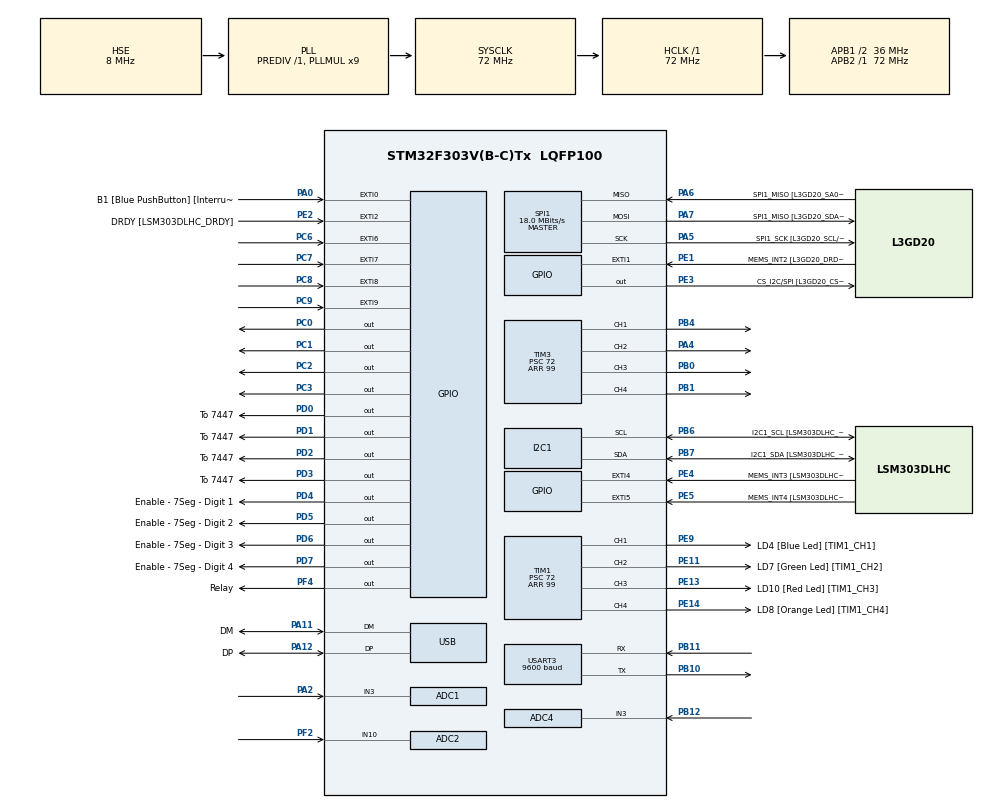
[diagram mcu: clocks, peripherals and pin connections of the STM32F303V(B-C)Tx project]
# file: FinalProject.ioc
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ADC1.Channel-0\#ChannelRegularConversion=ADC_CHANNEL_3
ADC1.Channel-2\#ChannelRegularConversion=ADC_CHANNEL_3
ADC1.ClockPrescaler=ADC_CLOCK_ASYNC_DIV1
ADC1.ContinuousConvMode=DISABLE
ADC1.DMAContinuousRequests=DISABLE
ADC1.DataAlign=ADC_DATAALIGN_RIGHT
ADC1.DiscontinuousConvMode=DISABLE
ADC1.EOCSelection=ADC_EOC_SINGLE_CONV
ADC1.EnableAnalogWatchDog1=false
ADC1.EnableAnalogWatchDog2=false
ADC1.EnableAnalogWatchDog3=false
ADC1.EnableInjectedConversion=ENABLE
ADC1.EnableRegularConversion=ENABLE
ADC1.ExternalTrigConv=ADC_SOFTWARE_START
ADC1.ExternalTrigConvEdge=ADC_EXTERNALTRIGCONVEDGE_NONE
ADC1.InjNumberOfConversion=0
ADC1.LowPowerAutoWait=DISABLE
ADC1.NbrOfConversion=1
ADC1.NbrOfConversionFlag=1
ADC1.Offset-0\#ChannelRegularConversion=0
ADC1.Offset-2\#ChannelRegularConversion=0
ADC1.OffsetNumber-0\#ChannelRegularConversion=ADC_OFFSET_NONE
ADC1.OffsetNumber-2\#ChannelRegularConversion=ADC_OFFSET_NONE
ADC1.Overrun=ADC_OVR_DATA_OVERWRITTEN
ADC1.Rank-0\#ChannelRegularConversion=1
ADC1.Rank-2\#ChannelRegularConversion=1
ADC1.Resolution=ADC_RESOLUTION_6B
ADC1.SamplingTime-0\#ChannelRegularConversion=ADC_SAMPLETIME_601CYCLES_5
ADC1.SamplingTime-2\#ChannelRegularConversion=ADC_SAMPLETIME_1CYCLE_5
ADC1.ScanConvMode=ADC_SCAN_DISABLE
ADC1.master=1
ADC2.Channel-0\#ChannelRegularConversion=ADC_CHANNEL_10
ADC2.ClockPrescaler=ADC_CLOCK_ASYNC_DIV1
ADC2.ContinuousConvMode=DISABLE
ADC2.DMAContinuousRequests=DISABLE
ADC2.DataAlign=ADC_DATAALIGN_RIGHT
ADC2.DiscontinuousConvMode=DISABLE
ADC2.EOCSelection=ADC_EOC_SINGLE_CONV
ADC2.EnableAnalogWatchDog1=false
ADC2.EnableAnalogWatchDog2=false
ADC2.EnableAnalogWatchDog3=false
ADC2.EnableInjectedConversion=ENABLE
ADC2.EnableRegularConversion=ENABLE
ADC2.ExternalTrigConv=ADC_SOFTWARE_START
ADC2.ExternalTrigConvEdge=ADC_EXTERNALTRIGCONVEDGE_NONE
ADC2.InjNumberOfConversion=0
ADC2.LowPowerAutoWait=DISABLE
ADC2.NbrOfConversion=1
ADC2.NbrOfConversionFlag=1
ADC2.Offset-0\#ChannelRegularConversion=0
ADC2.OffsetNumber-0\#ChannelRegularConversion=ADC_OFFSET_NONE
ADC2.Overrun=ADC_OVR_DATA_OVERWRITTEN
ADC2.Rank-0\#ChannelRegularConversion=1
ADC2.Resolution=ADC_RESOLUTION_12B
ADC2.SamplingTime-0\#ChannelRegularConversion=ADC_SAMPLETIME_61CYCLES_5
ADC2.ScanConvMode=ADC_SCAN_DISABLE
ADC4.Channel-4\#ChannelRegularConversion=ADC_CHANNEL_3
ADC4.ClockPrescaler=ADC_CLOCK_ASYNC_DIV1
ADC4.ContinuousConvMode=DISABLE
ADC4.DMAContinuousRequests=DISABLE
ADC4.DataAlign=ADC_DATAALIGN_RIGHT
ADC4.DiscontinuousConvMode=DISABLE
ADC4.EOCSelection=ADC_EOC_SINGLE_CONV
ADC4.EnableAnalogWatchDog1=false
ADC4.EnableAnalogWatchDog2=false
ADC4.EnableAnalogWatchDog3=false
ADC4.EnableInjectedConversion=ENABLE
ADC4.EnableRegularConversion=ENABLE
ADC4.ExternalTrigConv=ADC_SOFTWARE_START
ADC4.ExternalTrigConvEdge=ADC_EXTERNALTRIGCONVEDGE_NONE
ADC4.InjNumberOfConversion=0
ADC4.LowPowerAutoWait=DISABLE
ADC4.NbrOfConversion=1
ADC4.NbrOfConversionFlag=1
ADC4.Offset-4\#ChannelRegularConversion=0
ADC4.OffsetNumber-4\#ChannelRegularConversion=ADC_OFFSET_NONE
ADC4.Overrun=ADC_OVR_DATA_OVERWRITTEN
ADC4.Rank-4\#ChannelRegularConversion=1
ADC4.Resolution=ADC_RESOLUTION_6B
ADC4.SamplingTime-4\#ChannelRegularConversion=ADC_SAMPLETIME_601CYCLES_5
ADC4.ScanConvMode=ADC_SCAN_DISABLE
I2C1.Timing-I2C=0x2000090E
Mcu.Family=STM32F3
Mcu.Name=STM32F303V(B-C)Tx
Mcu.Package=LQFP100
NVIC.ADC1_2_IRQn=true\:3\:0\:true\:false\:true\:true
NVIC.ADC4_IRQn=true\:4\:0\:true\:false\:true\:true
NVIC.EXTI0_IRQn=true\:3\:0\:true\:false\:true\:true
NVIC.EXTI9_5_IRQn=true\:3\:0\:true\:false\:true\:true
NVIC.PriorityGroup=NVIC_PRIORITYGROUP_3
NVIC.TIM2_IRQn=true\:2\:0\:true\:false\:true\:true
NVIC.TIM4_IRQn=true\:1\:0\:true\:false\:true\:true
NVIC.USART3_IRQn=true\:4\:0\:true\:false\:true\:true
PA0.GPIO_Label=B1 [Blue PushButton] [Interruptable]
PA0.GPIO_PuPd=GPIO_PULLDOWN
PA0.Signal=GPXTI0
PA11.GPIO_Label=DM
PA11.Mode=Device
PA11.Signal=USB_DM
PA12.GPIO_Label=DP
PA12.Mode=Device
PA12.Signal=USB_DP
PA13.GPIO_Label=SWDIO
PA13.Mode=Serial_Wire
PA13.Signal=SYS_JTMS-SWDIO
PA14.GPIO_Label=SWCLK
PA14.Mode=Serial_Wire
PA14.Signal=SYS_JTCK-SWCLK
PA2.Mode=IN3-Single-Ended
PA2.Signal=ADC1_IN3
PA4.Signal=S_TIM3_CH2
PA5.GPIO_Label=SPI1_SCK [L3GD20_SCL/SPC]
PA5.Mode=Full_Duplex_Master
PA5.Signal=SPI1_SCK
PA6.GPIO_Label=SPI1_MISO [L3GD20_SA0/SDO]
PA6.Mode=Full_Duplex_Master
PA6.Signal=SPI1_MISO
PA7.GPIO_Label=SPI1_MISO [L3GD20_SDA/SDI/SDO]
PA7.Mode=Full_Duplex_Master
PA7.Signal=SPI1_MOSI
PB0.Signal=S_TIM3_CH3
PB1.Signal=S_TIM3_CH4
PB10.Mode=Asynchronous
PB10.Signal=USART3_TX
PB11.Mode=Asynchronous
PB11.Signal=USART3_RX
PB12.Mode=IN3-Single-Ended
PB12.Signal=ADC4_IN3
PB3.GPIO_Label=SWO
PB3.Signal=SYS_JTDO-TRACESWO
PB4.Signal=S_TIM3_CH1
PB6.GPIO_Label=I2C1_SCL [LSM303DLHC_SCL]
PB6.Mode=I2C
PB6.Signal=I2C1_SCL
PB7.GPIO_Label=I2C1_SDA [LSM303DLHC_SDA]
PB7.Mode=I2C
PB7.Signal=I2C1_SDA
PC0.GPIO_Speed=GPIO_SPEED_FREQ_HIGH
PC0.Signal=GPIO_Output
PC1.GPIO_Speed=GPIO_SPEED_FREQ_HIGH
PC1.Signal=GPIO_Output
PC14-OSC32_IN.GPIO_Label=OSC32_IN
PC14-OSC32_IN.Signal=RCC_OSC32_IN
PC15-OSC32_OUT.GPIO_Label=OSC32_OUT
PC15-OSC32_OUT.Signal=RCC_OSC32_OUT
PC2.GPIO_Speed=GPIO_SPEED_FREQ_HIGH
PC2.Signal=GPIO_Output
PC3.GPIO_Speed=GPIO_SPEED_FREQ_HIGH
PC3.Signal=GPIO_Output
PC6.GPIO_PuPd=GPIO_PULLDOWN
PC6.Signal=GPXTI6
PC7.GPIO_PuPd=GPIO_PULLDOWN
PC7.Signal=GPXTI7
PC8.GPIO_PuPd=GPIO_PULLDOWN
PC8.Signal=GPXTI8
PC9.GPIO_PuPd=GPIO_PULLDOWN
PC9.Signal=GPXTI9
PD0.GPIO_Label=To 7447
PD0.GPIO_Speed=GPIO_SPEED_FREQ_HIGH
PD0.Signal=GPIO_Output
PD1.GPIO_Label=To 7447
PD1.GPIO_Speed=GPIO_SPEED_FREQ_HIGH
PD1.Signal=GPIO_Output
PD2.GPIO_Label=To 7447
PD2.GPIO_Speed=GPIO_SPEED_FREQ_HIGH
PD2.Signal=GPIO_Output
PD3.GPIO_Label=To 7447
PD3.GPIO_Speed=GPIO_SPEED_FREQ_HIGH
PD3.Signal=GPIO_Output
PD4.GPIO_Label=Enable - 7Seg - Digit 1
PD4.GPIO_Speed=GPIO_SPEED_FREQ_HIGH
PD4.Signal=GPIO_Output
PD5.GPIO_Label=Enable - 7Seg - Digit 2
PD5.GPIO_Speed=GPIO_SPEED_FREQ_HIGH
PD5.Signal=GPIO_Output
PD6.GPIO_Label=Enable - 7Seg - Digit 3
PD6.GPIO_Speed=GPIO_SPEED_FREQ_HIGH
PD6.Signal=GPIO_Output
PD7.GPIO_Label=Enable - 7Seg - Digit 4
PD7.GPIO_Speed=GPIO_SPEED_FREQ_HIGH
PD7.Signal=GPIO_Output
PE1.GPIO_Label=MEMS_INT2 [L3GD20_DRDY/INT2]
PE1.GPIO_ModeDefaultEXTI=GPIO_MODE_EVT_RISING
PE1.Signal=GPXTI1
PE11.GPIO_Label=LD7 [Green Led] [TIM1_CH2]
PE11.Signal=S_TIM1_CH2
PE13.GPIO_Label=LD10 [Red Led] [TIM1_CH3]
PE13.Signal=S_TIM1_CH3
PE14.GPIO_Label=LD8 [Orange Led] [TIM1_CH4]
PE14.Signal=S_TIM1_CH4
PE2.GPIO_Label=DRDY [LSM303DLHC_DRDY]
PE2.GPIO_ModeDefaultEXTI=GPIO_MODE_EVT_RISING
PE2.Signal=GPXTI2
PE3.GPIO_Label=CS_I2C/SPI [L3GD20_CS_I2C/SPI]
PE3.Signal=GPIO_Output
PE4.GPIO_Label=MEMS_INT3 [LSM303DLHC_INT1]
PE4.GPIO_ModeDefaultEXTI=GPIO_MODE_EVT_RISING
PE4.Signal=GPXTI4
PE5.GPIO_Label=MEMS_INT4 [LSM303DLHC_INT2]
PE5.GPIO_ModeDefaultEXTI=GPIO_MODE_EVT_RISING
PE5.Signal=GPXTI5
PE9.GPIO_Label=LD4 [Blue Led] [TIM1_CH1]
PE9.Signal=S_TIM1_CH1
PF0-OSC_IN.GPIO_Label=OSC_IN
PF0-OSC_IN.Mode=HSE-External-Clock-Source
PF0-OSC_IN.Signal=RCC_OSC_IN
PF1-OSC_OUT.GPIO_Label=OSC_OUT
PF1-OSC_OUT.Signal=RCC_OSC_OUT
PF2.Signal=ADCx_IN10
PF4.GPIO_Label=Relay
PF4.GPIO_Speed=GPIO_SPEED_FREQ_HIGH
PF4.Signal=GPIO_Output
ProjectManager.HeapSize=0x200
ProjectManager.StackSize=0x400
ProjectManager.TargetToolchain=MDK-ARM V5
RCC.AHBFreq_Value=72000000
RCC.APB1CLKDivider=RCC_HCLK_DIV2
RCC.APB1Freq_Value=36000000
RCC.APB1TimFreq_Value=72000000
RCC.APB2Freq_Value=72000000
RCC.APB2TimFreq_Value=72000000
RCC.CortexFreq_Value=72000000
RCC.HCLKFreq_Value=72000000
RCC.HSE_VALUE=8000000
RCC.HSI_VALUE=8000000
RCC.LSE_VALUE=32768
RCC.PLLMUL=RCC_PLL_MUL9
RCC.PRESCALERUSB=RCC_USBCLKSOURCE_PLL_DIV1_5
RCC.SYSCLKFreq_VALUE=72000000
RCC.SYSCLKSourceVirtual=RCC_SYSCLKSOURCE_PLLCLK
RCC.USBFreq_Value=48000000
RTC.Date=13
RTC.Hours=11
RTC.Month=RTC_MONTH_OCTOBER
RTC.WeekDay=RTC_WEEKDAY_SATURDAY
RTC.Year=18
SH.ADCx_IN10.0=ADC2_IN10,IN10-Single-Ended
SH.S_TIM1_CH1.0=TIM1_CH1,PWM Generation1 CH1
SH.S_TIM1_CH2.0=TIM1_CH2,PWM Generation2 CH2
SH.S_TIM1_CH3.0=TIM1_CH3,PWM Generation3 CH3
SH.S_TIM1_CH4.0=TIM1_CH4,PWM Generation4 CH4
SH.S_TIM3_CH1.0=TIM3_CH1,PWM Generation1 CH1
SH.S_TIM3_CH2.0=TIM3_CH2,PWM Generation2 CH2
SH.S_TIM3_CH3.0=TIM3_CH3,PWM Generation3 CH3
SH.S_TIM3_CH4.0=TIM3_CH4,PWM Generation4 CH4
SPI1.BaudRatePrescaler=SPI_BAUDRATEPRESCALER_4
SPI1.BaudRatePrescaler-Full_Duplex_Master=SPI_BAUDRATEPRESCALER_2
SPI1.CalculateBaudRate=18.0 MBits/s
SPI1.CalculateBaudRate-Full_Duplex_Master=24.0 MBits/s
SPI1.Direction=SPI_DIRECTION_2LINES
SPI1.Mode=SPI_MODE_MASTER
SPI1.Mode-Full_Duplex_Master=SPI_MODE_MASTER
SPI1.VirtualType=VM_MASTER
TIM1.Channel-PWM\ Generation1\ CH1=TIM_CHANNEL_1
TIM1.Channel-PWM\ Generation2\ CH2=TIM_CHANNEL_2
TIM1.Channel-PWM\ Generation3\ CH3=TIM_CHANNEL_3
TIM1.Channel-PWM\ Generation4\ CH4=TIM_CHANNEL_4
TIM1.Period=99
TIM1.Prescaler=72
TIM2.Channel-PWM\ Generation1\ CH1=TIM_CHANNEL_1
TIM2.Period=35999
TIM2.Prescaler=1
TIM3.Channel-PWM\ Generation1\ CH1=TIM_CHANNEL_1
TIM3.Channel-PWM\ Generation2\ CH2=TIM_CHANNEL_2
TIM3.Channel-PWM\ Generation3\ CH3=TIM_CHANNEL_3
TIM3.Channel-PWM\ Generation4\ CH4=TIM_CHANNEL_4
TIM3.Period=99
TIM3.Prescaler=72
TIM4.Period=35999
TIM4.Prescaler=1
USART3.BaudRate=9600
USART3.VirtualMode-Asynchronous=VM_ASYNC
VP_RTC_VS_RTC_Activate.Mode=RTC_Enabled
VP_RTC_VS_RTC_Calendar.Mode=RTC_Calendar
VP_TIM1_VS_ClockSourceINT.Mode=Internal
VP_TIM2_VS_ClockSourceINT.Mode=Internal
VP_TIM3_VS_ClockSourceINT.Mode=Internal
VP_TIM4_VS_ClockSourceINT.Mode=Internal
board=STM32F3DISCOVERY

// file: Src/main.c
/**
  ******************************************************************************
  * @file           : main.c
  * @brief          : Main program body
  ******************************************************************************
  ** This notice applies to any and all portions of this file
  * that are not between comment pairs USER CODE BEGIN and
  * USER CODE END. Other portions of this file, whether
  * inserted by the user or by software development tools
  * are owned by their respective copyright owners.
  *
  * COPYRIGHT(c) 2018 STMicroelectronics
  *
  * Redistribution and use in source and binary forms, with or without modification,
  * are permitted provided that the following conditions are met:
  *   1. Redistributions of source code must retain the above copyright notice,
  *      this list of conditions and the following disclaimer.
  *   2. Redistributions in binary form must reproduce the above copyright notice,
  *      this list of conditions and the following disclaimer in the documentation
  *      and/or other materials provided with the distribution.
  *   3. Neither the name of STMicroelectronics nor the names of its contributors
  *      may be used to endorse or promote products derived from this software
  *      without specific prior written permission.
  *
  * THIS SOFTWARE IS PROVIDED BY THE COPYRIGHT HOLDERS AND CONTRIBUTORS "AS IS"
  * AND ANY EXPRESS OR IMPLIED WARRANTIES, INCLUDING, BUT NOT LIMITED TO, THE
  * IMPLIED WARRANTIES OF MERCHANTABILITY AND FITNESS FOR A PARTICULAR PURPOSE ARE
  * DISCLAIMED. IN NO EVENT SHALL THE COPYRIGHT HOLDER OR CONTRIBUTORS BE LIABLE
  * FOR ANY DIRECT, INDIRECT, INCIDENTAL, SPECIAL, EXEMPLARY, OR CONSEQUENTIAL
  * DAMAGES (INCLUDING, BUT NOT LIMITED TO, PROCUREMENT OF SUBSTITUTE GOODS OR
  * SERVICES; LOSS OF USE, DATA, OR PROFITS; OR BUSINESS INTERRUPTION) HOWEVER
  * CAUSED AND ON ANY THEORY OF LIABILITY, WHETHER IN CONTRACT, STRICT LIABILITY,
  * OR TORT (INCLUDING NEGLIGENCE OR OTHERWISE) ARISING IN ANY WAY OUT OF THE USE
  * OF THIS SOFTWARE, EVEN IF ADVISED OF THE POSSIBILITY OF SUCH DAMAGE.
  *
  ******************************************************************************
  */
#include "main.h"
#include "stm32f3xx_hal.h"

/* USER CODE BEGIN Includes */
#include "LiquidCrystal.h"
#include "Utility.h"
#include <stdbool.h>

// byte is not defined here by default
typedef unsigned char byte;
/* USER CODE END Includes */

ADC_HandleTypeDef hadc1;
ADC_HandleTypeDef hadc2;
ADC_HandleTypeDef hadc4;

I2C_HandleTypeDef hi2c1;

RTC_HandleTypeDef hrtc;

SPI_HandleTypeDef hspi1;

TIM_HandleTypeDef htim1;
TIM_HandleTypeDef htim2;
TIM_HandleTypeDef htim3;
TIM_HandleTypeDef htim4;

UART_HandleTypeDef huart3;

PCD_HandleTypeDef hpcd_USB_FS;

/* USER CODE BEGIN PV */
/* Private variables ---------------------------------------------------------*/
uint8_t Life, Level, temp_level, volume;
enum State state;
enum Playing_State playing_state;
enum Cell map[16][2];
uint8_t UART_Data[1], UART_Command[25], UART_position;
struct Position player_pos, initial_player_pos, new_player_pos, barrier_pos[10];
struct HighScore highscores[5];
// counters
uint8_t counter_7segment;
uint16_t counter_player_move, counter_treasure, counter_blink, forward_move_time;
uint32_t score;
uint8_t name[100], name_size, datetime[19];
RTC_TimeTypeDef myTime;
RTC_DateTypeDef myDate;

bool keypad_row[4];
char keypad_btn;
/* USER CODE END PV */

void SystemClock_Config(void);
static void MX_GPIO_Init(void);
static void MX_I2C1_Init(void);
static void MX_SPI1_Init(void);
static void MX_USB_PCD_Init(void);
static void MX_ADC2_Init(void);
static void MX_TIM2_Init(void);
static void MX_TIM1_Init(void);
static void MX_ADC1_Init(void);
static void MX_TIM3_Init(void);
static void MX_TIM4_Init(void);
static void MX_ADC4_Init(void);
static void MX_USART3_UART_Init(void);
static void MX_RTC_Init(void);

void HAL_TIM_MspPostInit(TIM_HandleTypeDef *htim);

/* USER CODE BEGIN PFP */
/* Private function prototypes -----------------------------------------------*/
void initial_tasks(void);
/* USER CODE END PFP */

/* USER CODE BEGIN 0 */
// make Game characters:
byte player_char[8] = {
	0x00,
	0x04,
	0x0E,
	0x1F,
	0x1F,
	0x0E,
	0x04,
	0x00
};

byte barrier_char[8] = {
	0x15,
	0x15,
	0x1F,
	0x0E,
	0x0E,
	0x1F,
	0x15,
	0x15
};

byte block_char[8] = {
	0xFF,
	0xFF,
	0xFF,
	0xFF,
	0xFF,
	0xFF,
	0xFF,
	0xFF
};
/* USER CODE END 0 */

int main(void)
{

  /* MCU Configuration----------------------------------------------------------*/

  /* Reset of all peripherals, Initializes the Flash interface and the Systick. */
  HAL_Init();

  /* Configure the system clock */
  SystemClock_Config();

  /* Initialize all configured peripherals */
  MX_GPIO_Init();
  MX_I2C1_Init();
  MX_SPI1_Init();
  MX_USB_PCD_Init();
  MX_ADC2_Init();
  MX_TIM2_Init();
  MX_TIM1_Init();
  MX_ADC1_Init();
  MX_TIM3_Init();
  MX_TIM4_Init();
  MX_ADC4_Init();
  MX_USART3_UART_Init();
  MX_RTC_Init();
  /* USER CODE BEGIN 2 */
	initial_tasks();
  /* USER CODE END 2 */

  /* Infinite loop */
  /* USER CODE BEGIN WHILE */
  while (1)
  {
//		clear();
//		HAL_ADC_Start(&hadc2);
//		char value[16];
//		sprintf(value, "%d", HAL_ADC_GetValue(&hadc2));
//		print(value);
//		HAL_Delay(100);

//		HAL_GPIO_WritePin(GPIOF, GPIO_PIN_4, GPIO_PIN_SET);
//		HAL_Delay(2000);
//		HAL_GPIO_WritePin(GPIOF, GPIO_PIN_4, GPIO_PIN_RESET);
//		HAL_Delay(2000);

//		HAL_RTC_GetTime(&hrtc, &myTime, RTC_FORMAT_BIN);
//		HAL_RTC_GetDate(&hrtc, &myDate, RTC_FORMAT_BIN);
//		char time[16], date[16];
//		sprintf(time, "%02d:%02d:%02d", myTime.Hours, myTime.Minutes, myTime.Seconds);
//		sprintf(date, "  20%02d:%02d:%02d", myDate.Year, myDate.Month, myDate.Date);
//		setCursor(4, 0);
//		print(time);
//		setCursor(0, 1);
//		switch(myDate.WeekDay)
//    {
//        case 0:
//            print("SUN");
//            break;
//        case 1:
//            print("MON");
//            break;
//        case 2:
//            print("TUE");
//            break;
//        case 3:
//            print("WED");
//            break;
//        case 4:
//            print("THU");
//            break;
//        case 5:
//            print("FRI");
//            break;
//        case 6:
//            print("SAT");
//            break;
//    }
//		print(date);
//		HAL_Delay(500);
  /* USER CODE END WHILE */

  }

}

void SystemClock_Config(void)
{

  RCC_OscInitTypeDef RCC_OscInitStruct;
  RCC_ClkInitTypeDef RCC_ClkInitStruct;
  RCC_PeriphCLKInitTypeDef PeriphClkInit;

    /**Initializes the CPU, AHB and APB busses clocks
    */
  RCC_OscInitStruct.OscillatorType = RCC_OSCILLATORTYPE_HSI|RCC_OSCILLATORTYPE_LSI
                              |RCC_OSCILLATORTYPE_HSE;
  RCC_OscInitStruct.HSEState = RCC_HSE_BYPASS;
  RCC_OscInitStruct.HSEPredivValue = RCC_HSE_PREDIV_DIV1;
  RCC_OscInitStruct.HSIState = RCC_HSI_ON;
  RCC_OscInitStruct.HSICalibrationValue = 16;
  RCC_OscInitStruct.LSIState = RCC_LSI_ON;
  RCC_OscInitStruct.PLL.PLLState = RCC_PLL_ON;
  RCC_OscInitStruct.PLL.PLLSource = RCC_PLLSOURCE_HSE;
  RCC_OscInitStruct.PLL.PLLMUL = RCC_PLL_MUL9;
  if (HAL_RCC_OscConfig(&RCC_OscInitStruct) != HAL_OK)
  {
    _Error_Handler(__FILE__, __LINE__);
  }

    /**Initializes the CPU, AHB and APB busses clocks
    */
  RCC_ClkInitStruct.ClockType = RCC_CLOCKTYPE_HCLK|RCC_CLOCKTYPE_SYSCLK
                              |RCC_CLOCKTYPE_PCLK1|RCC_CLOCKTYPE_PCLK2;
  RCC_ClkInitStruct.SYSCLKSource = RCC_SYSCLKSOURCE_PLLCLK;
  RCC_ClkInitStruct.AHBCLKDivider = RCC_SYSCLK_DIV1;
  RCC_ClkInitStruct.APB1CLKDivider = RCC_HCLK_DIV2;
  RCC_ClkInitStruct.APB2CLKDivider = RCC_HCLK_DIV1;

  if (HAL_RCC_ClockConfig(&RCC_ClkInitStruct, FLASH_LATENCY_2) != HAL_OK)
  {
    _Error_Handler(__FILE__, __LINE__);
  }

  PeriphClkInit.PeriphClockSelection = RCC_PERIPHCLK_USB|RCC_PERIPHCLK_USART3
                              |RCC_PERIPHCLK_I2C1|RCC_PERIPHCLK_RTC
                              |RCC_PERIPHCLK_TIM1|RCC_PERIPHCLK_ADC12
                              |RCC_PERIPHCLK_ADC34;
  PeriphClkInit.Usart3ClockSelection = RCC_USART3CLKSOURCE_PCLK1;
  PeriphClkInit.Adc12ClockSelection = RCC_ADC12PLLCLK_DIV1;
  PeriphClkInit.Adc34ClockSelection = RCC_ADC34PLLCLK_DIV1;
  PeriphClkInit.I2c1ClockSelection = RCC_I2C1CLKSOURCE_HSI;
  PeriphClkInit.RTCClockSelection = RCC_RTCCLKSOURCE_LSI;
  PeriphClkInit.USBClockSelection = RCC_USBCLKSOURCE_PLL_DIV1_5;
  PeriphClkInit.Tim1ClockSelection = RCC_TIM1CLK_HCLK;
  if (HAL_RCCEx_PeriphCLKConfig(&PeriphClkInit) != HAL_OK)
  {
    _Error_Handler(__FILE__, __LINE__);
  }

    /**Configure the Systick interrupt time
    */
  HAL_SYSTICK_Config(HAL_RCC_GetHCLKFreq()/1000);

    /**Configure the Systick
    */
  HAL_SYSTICK_CLKSourceConfig(SYSTICK_CLKSOURCE_HCLK);

  /* SysTick_IRQn interrupt configuration */
  HAL_NVIC_SetPriority(SysTick_IRQn, 0, 0);
}

/* ADC1 init function */
static void MX_ADC1_Init(void)
{

  ADC_MultiModeTypeDef multimode;
  ADC_ChannelConfTypeDef sConfig;

    /**Common config
    */
  hadc1.Instance = ADC1;
  hadc1.Init.ClockPrescaler = ADC_CLOCK_ASYNC_DIV1;
  hadc1.Init.Resolution = ADC_RESOLUTION_6B;
  hadc1.Init.ScanConvMode = ADC_SCAN_DISABLE;
  hadc1.Init.ContinuousConvMode = DISABLE;
  hadc1.Init.DiscontinuousConvMode = DISABLE;
  hadc1.Init.ExternalTrigConvEdge = ADC_EXTERNALTRIGCONVEDGE_NONE;
  hadc1.Init.ExternalTrigConv = ADC_SOFTWARE_START;
  hadc1.Init.DataAlign = ADC_DATAALIGN_RIGHT;
  hadc1.Init.NbrOfConversion = 1;
  hadc1.Init.DMAContinuousRequests = DISABLE;
  hadc1.Init.EOCSelection = ADC_EOC_SINGLE_CONV;
  hadc1.Init.LowPowerAutoWait = DISABLE;
  hadc1.Init.Overrun = ADC_OVR_DATA_OVERWRITTEN;
  if (HAL_ADC_Init(&hadc1) != HAL_OK)
  {
    _Error_Handler(__FILE__, __LINE__);
  }

    /**Configure the ADC multi-mode
    */
  multimode.Mode = ADC_MODE_INDEPENDENT;
  if (HAL_ADCEx_MultiModeConfigChannel(&hadc1, &multimode) != HAL_OK)
  {
    _Error_Handler(__FILE__, __LINE__);
  }

    /**Configure Regular Channel
    */
  sConfig.Channel = ADC_CHANNEL_3;
  sConfig.Rank = ADC_REGULAR_RANK_1;
  sConfig.SingleDiff = ADC_SINGLE_ENDED;
  sConfig.SamplingTime = ADC_SAMPLETIME_1CYCLE_5;
  sConfig.OffsetNumber = ADC_OFFSET_NONE;
  sConfig.Offset = 0;
  if (HAL_ADC_ConfigChannel(&hadc1, &sConfig) != HAL_OK)
  {
    _Error_Handler(__FILE__, __LINE__);
  }

    /**Configure Regular Channel
    */
  sConfig.SamplingTime = ADC_SAMPLETIME_601CYCLES_5;
  if (HAL_ADC_ConfigChannel(&hadc1, &sConfig) != HAL_OK)
  {
    _Error_Handler(__FILE__, __LINE__);
  }

}

/* ADC2 init function */
static void MX_ADC2_Init(void)
{

  ADC_ChannelConfTypeDef sConfig;

    /**Common config
    */
  hadc2.Instance = ADC2;
  hadc2.Init.ClockPrescaler = ADC_CLOCK_ASYNC_DIV1;
  hadc2.Init.Resolution = ADC_RESOLUTION_12B;
  hadc2.Init.ScanConvMode = ADC_SCAN_DISABLE;
  hadc2.Init.ContinuousConvMode = DISABLE;
  hadc2.Init.DiscontinuousConvMode = DISABLE;
  hadc2.Init.ExternalTrigConvEdge = ADC_EXTERNALTRIGCONVEDGE_NONE;
  hadc2.Init.ExternalTrigConv = ADC_SOFTWARE_START;
  hadc2.Init.DataAlign = ADC_DATAALIGN_RIGHT;
  hadc2.Init.NbrOfConversion = 1;
  hadc2.Init.DMAContinuousRequests = DISABLE;
  hadc2.Init.EOCSelection = ADC_EOC_SINGLE_CONV;
  hadc2.Init.LowPowerAutoWait = DISABLE;
  hadc2.Init.Overrun = ADC_OVR_DATA_OVERWRITTEN;
  if (HAL_ADC_Init(&hadc2) != HAL_OK)
  {
    _Error_Handler(__FILE__, __LINE__);
  }

    /**Configure Regular Channel
    */
  sConfig.Channel = ADC_CHANNEL_10;
  sConfig.Rank = ADC_REGULAR_RANK_1;
  sConfig.SingleDiff = ADC_SINGLE_ENDED;
  sConfig.SamplingTime = ADC_SAMPLETIME_61CYCLES_5;
  sConfig.OffsetNumber = ADC_OFFSET_NONE;
  sConfig.Offset = 0;
  if (HAL_ADC_ConfigChannel(&hadc2, &sConfig) != HAL_OK)
  {
    _Error_Handler(__FILE__, __LINE__);
  }

}

/* ADC4 init function */
static void MX_ADC4_Init(void)
{

  ADC_ChannelConfTypeDef sConfig;

    /**Common config
    */
  hadc4.Instance = ADC4;
  hadc4.Init.ClockPrescaler = ADC_CLOCK_ASYNC_DIV1;
  hadc4.Init.Resolution = ADC_RESOLUTION_6B;
  hadc4.Init.ScanConvMode = ADC_SCAN_DISABLE;
  hadc4.Init.ContinuousConvMode = DISABLE;
  hadc4.Init.DiscontinuousConvMode = DISABLE;
  hadc4.Init.ExternalTrigConvEdge = ADC_EXTERNALTRIGCONVEDGE_NONE;
  hadc4.Init.ExternalTrigConv = ADC_SOFTWARE_START;
  hadc4.Init.DataAlign = ADC_DATAALIGN_RIGHT;
  hadc4.Init.NbrOfConversion = 1;
  hadc4.Init.DMAContinuousRequests = DISABLE;
  hadc4.Init.EOCSelection = ADC_EOC_SINGLE_CONV;
  hadc4.Init.LowPowerAutoWait = DISABLE;
  hadc4.Init.Overrun = ADC_OVR_DATA_OVERWRITTEN;
  if (HAL_ADC_Init(&hadc4) != HAL_OK)
  {
    _Error_Handler(__FILE__, __LINE__);
  }

    /**Configure Regular Channel
    */
  sConfig.Channel = ADC_CHANNEL_3;
  sConfig.Rank = ADC_REGULAR_RANK_1;
  sConfig.SingleDiff = ADC_SINGLE_ENDED;
  sConfig.SamplingTime = ADC_SAMPLETIME_601CYCLES_5;
  sConfig.OffsetNumber = ADC_OFFSET_NONE;
  sConfig.Offset = 0;
  if (HAL_ADC_ConfigChannel(&hadc4, &sConfig) != HAL_OK)
  {
    _Error_Handler(__FILE__, __LINE__);
  }

}

/* I2C1 init function */
static void MX_I2C1_Init(void)
{

  hi2c1.Instance = I2C1;
  hi2c1.Init.Timing = 0x2000090E;
  hi2c1.Init.OwnAddress1 = 0;
  hi2c1.Init.AddressingMode = I2C_ADDRESSINGMODE_7BIT;
  hi2c1.Init.DualAddressMode = I2C_DUALADDRESS_DISABLE;
  hi2c1.Init.OwnAddress2 = 0;
  hi2c1.Init.OwnAddress2Masks = I2C_OA2_NOMASK;
  hi2c1.Init.GeneralCallMode = I2C_GENERALCALL_DISABLE;
  hi2c1.Init.NoStretchMode = I2C_NOSTRETCH_DISABLE;
  if (HAL_I2C_Init(&hi2c1) != HAL_OK)
  {
    _Error_Handler(__FILE__, __LINE__);
  }

    /**Configure Analogue filter
    */
  if (HAL_I2CEx_ConfigAnalogFilter(&hi2c1, I2C_ANALOGFILTER_ENABLE) != HAL_OK)
  {
    _Error_Handler(__FILE__, __LINE__);
  }

    /**Configure Digital filter
    */
  if (HAL_I2CEx_ConfigDigitalFilter(&hi2c1, 0) != HAL_OK)
  {
    _Error_Handler(__FILE__, __LINE__);
  }

}

/* RTC init function */
static void MX_RTC_Init(void)
{

  RTC_TimeTypeDef sTime;
  RTC_DateTypeDef sDate;

    /**Initialize RTC Only
    */
  hrtc.Instance = RTC;
  hrtc.Init.HourFormat = RTC_HOURFORMAT_24;
  hrtc.Init.AsynchPrediv = 127;
  hrtc.Init.SynchPrediv = 255;
  hrtc.Init.OutPut = RTC_OUTPUT_DISABLE;
  hrtc.Init.OutPutPolarity = RTC_OUTPUT_POLARITY_HIGH;
  hrtc.Init.OutPutType = RTC_OUTPUT_TYPE_OPENDRAIN;
  if (HAL_RTC_Init(&hrtc) != HAL_OK)
  {
    _Error_Handler(__FILE__, __LINE__);
  }

    /**Initialize RTC and set the Time and Date
    */
  sTime.Hours = 0x11;
  sTime.Minutes = 0x0;
  sTime.Seconds = 0x0;
  sTime.DayLightSaving = RTC_DAYLIGHTSAVING_NONE;
  sTime.StoreOperation = RTC_STOREOPERATION_RESET;
  if (HAL_RTC_SetTime(&hrtc, &sTime, RTC_FORMAT_BCD) != HAL_OK)
  {
    _Error_Handler(__FILE__, __LINE__);
  }

  sDate.WeekDay = RTC_WEEKDAY_SATURDAY;
  sDate.Month = RTC_MONTH_OCTOBER;
  sDate.Date = 0x13;
  sDate.Year = 0x18;

  if (HAL_RTC_SetDate(&hrtc, &sDate, RTC_FORMAT_BCD) != HAL_OK)
  {
    _Error_Handler(__FILE__, __LINE__);
  }

}

/* SPI1 init function */
static void MX_SPI1_Init(void)
{

  /* SPI1 parameter configuration*/
  hspi1.Instance = SPI1;
  hspi1.Init.Mode = SPI_MODE_MASTER;
  hspi1.Init.Direction = SPI_DIRECTION_2LINES;
  hspi1.Init.DataSize = SPI_DATASIZE_4BIT;
  hspi1.Init.CLKPolarity = SPI_POLARITY_LOW;
  hspi1.Init.CLKPhase = SPI_PHASE_1EDGE;
  hspi1.Init.NSS = SPI_NSS_SOFT;
  hspi1.Init.BaudRatePrescaler = SPI_BAUDRATEPRESCALER_4;
  hspi1.Init.FirstBit = SPI_FIRSTBIT_MSB;
  hspi1.Init.TIMode = SPI_TIMODE_DISABLE;
  hspi1.Init.CRCCalculation = SPI_CRCCALCULATION_DISABLE;
  hspi1.Init.CRCPolynomial = 7;
  hspi1.Init.CRCLength = SPI_CRC_LENGTH_DATASIZE;
  hspi1.Init.NSSPMode = SPI_NSS_PULSE_ENABLE;
  if (HAL_SPI_Init(&hspi1) != HAL_OK)
  {
    _Error_Handler(__FILE__, __LINE__);
  }

}

/* TIM1 init function */
static void MX_TIM1_Init(void)
{

  TIM_ClockConfigTypeDef sClockSourceConfig;
  TIM_MasterConfigTypeDef sMasterConfig;
  TIM_OC_InitTypeDef sConfigOC;
  TIM_BreakDeadTimeConfigTypeDef sBreakDeadTimeConfig;

  htim1.Instance = TIM1;
  htim1.Init.Prescaler = 72;
  htim1.Init.CounterMode = TIM_COUNTERMODE_UP;
  htim1.Init.Period = 99;
  htim1.Init.ClockDivision = TIM_CLOCKDIVISION_DIV1;
  htim1.Init.RepetitionCounter = 0;
  htim1.Init.AutoReloadPreload = TIM_AUTORELOAD_PRELOAD_DISABLE;
  if (HAL_TIM_Base_Init(&htim1) != HAL_OK)
  {
    _Error_Handler(__FILE__, __LINE__);
  }

  sClockSourceConfig.ClockSource = TIM_CLOCKSOURCE_INTERNAL;
  if (HAL_TIM_ConfigClockSource(&htim1, &sClockSourceConfig) != HAL_OK)
  {
    _Error_Handler(__FILE__, __LINE__);
  }

  if (HAL_TIM_PWM_Init(&htim1) != HAL_OK)
  {
    _Error_Handler(__FILE__, __LINE__);
  }

  sMasterConfig.MasterOutputTrigger = TIM_TRGO_RESET;
  sMasterConfig.MasterOutputTrigger2 = TIM_TRGO2_RESET;
  sMasterConfig.MasterSlaveMode = TIM_MASTERSLAVEMODE_DISABLE;
  if (HAL_TIMEx_MasterConfigSynchronization(&htim1, &sMasterConfig) != HAL_OK)
  {
    _Error_Handler(__FILE__, __LINE__);
  }

  sConfigOC.OCMode = TIM_OCMODE_PWM1;
  sConfigOC.Pulse = 0;
  sConfigOC.OCPolarity = TIM_OCPOLARITY_HIGH;
  sConfigOC.OCNPolarity = TIM_OCNPOLARITY_HIGH;
  sConfigOC.OCFastMode = TIM_OCFAST_DISABLE;
  sConfigOC.OCIdleState = TIM_OCIDLESTATE_RESET;
  sConfigOC.OCNIdleState = TIM_OCNIDLESTATE_RESET;
  if (HAL_TIM_PWM_ConfigChannel(&htim1, &sConfigOC, TIM_CHANNEL_1) != HAL_OK)
  {
    _Error_Handler(__FILE__, __LINE__);
  }

  if (HAL_TIM_PWM_ConfigChannel(&htim1, &sConfigOC, TIM_CHANNEL_2) != HAL_OK)
  {
    _Error_Handler(__FILE__, __LINE__);
  }

  if (HAL_TIM_PWM_ConfigChannel(&htim1, &sConfigOC, TIM_CHANNEL_3) != HAL_OK)
  {
    _Error_Handler(__FILE__, __LINE__);
  }

  if (HAL_TIM_PWM_ConfigChannel(&htim1, &sConfigOC, TIM_CHANNEL_4) != HAL_OK)
  {
    _Error_Handler(__FILE__, __LINE__);
  }

  sBreakDeadTimeConfig.OffStateRunMode = TIM_OSSR_DISABLE;
  sBreakDeadTimeConfig.OffStateIDLEMode = TIM_OSSI_DISABLE;
  sBreakDeadTimeConfig.LockLevel = TIM_LOCKLEVEL_OFF;
  sBreakDeadTimeConfig.DeadTime = 0;
  sBreakDeadTimeConfig.BreakState = TIM_BREAK_DISABLE;
  sBreakDeadTimeConfig.BreakPolarity = TIM_BREAKPOLARITY_HIGH;
  sBreakDeadTimeConfig.BreakFilter = 0;
  sBreakDeadTimeConfig.Break2State = TIM_BREAK2_DISABLE;
  sBreakDeadTimeConfig.Break2Polarity = TIM_BREAK2POLARITY_HIGH;
  sBreakDeadTimeConfig.Break2Filter = 0;
  sBreakDeadTimeConfig.AutomaticOutput = TIM_AUTOMATICOUTPUT_DISABLE;
  if (HAL_TIMEx_ConfigBreakDeadTime(&htim1, &sBreakDeadTimeConfig) != HAL_OK)
  {
    _Error_Handler(__FILE__, __LINE__);
  }

  HAL_TIM_MspPostInit(&htim1);

}

/* TIM2 init function */
static void MX_TIM2_Init(void)
{

  TIM_ClockConfigTypeDef sClockSourceConfig;
  TIM_MasterConfigTypeDef sMasterConfig;

  htim2.Instance = TIM2;
  htim2.Init.Prescaler = 1;
  htim2.Init.CounterMode = TIM_COUNTERMODE_UP;
  htim2.Init.Period = 35999;
  htim2.Init.ClockDivision = TIM_CLOCKDIVISION_DIV1;
  htim2.Init.AutoReloadPreload = TIM_AUTORELOAD_PRELOAD_DISABLE;
  if (HAL_TIM_Base_Init(&htim2) != HAL_OK)
  {
    _Error_Handler(__FILE__, __LINE__);
  }

  sClockSourceConfig.ClockSource = TIM_CLOCKSOURCE_INTERNAL;
  if (HAL_TIM_ConfigClockSource(&htim2, &sClockSourceConfig) != HAL_OK)
  {
    _Error_Handler(__FILE__, __LINE__);
  }

  sMasterConfig.MasterOutputTrigger = TIM_TRGO_RESET;
  sMasterConfig.MasterSlaveMode = TIM_MASTERSLAVEMODE_DISABLE;
  if (HAL_TIMEx_MasterConfigSynchronization(&htim2, &sMasterConfig) != HAL_OK)
  {
    _Error_Handler(__FILE__, __LINE__);
  }

}

/* TIM3 init function */
static void MX_TIM3_Init(void)
{

  TIM_ClockConfigTypeDef sClockSourceConfig;
  TIM_MasterConfigTypeDef sMasterConfig;
  TIM_OC_InitTypeDef sConfigOC;

  htim3.Instance = TIM3;
  htim3.Init.Prescaler = 72;
  htim3.Init.CounterMode = TIM_COUNTERMODE_UP;
  htim3.Init.Period = 99;
  htim3.Init.ClockDivision = TIM_CLOCKDIVISION_DIV1;
  htim3.Init.AutoReloadPreload = TIM_AUTORELOAD_PRELOAD_DISABLE;
  if (HAL_TIM_Base_Init(&htim3) != HAL_OK)
  {
    _Error_Handler(__FILE__, __LINE__);
  }

  sClockSourceConfig.ClockSource = TIM_CLOCKSOURCE_INTERNAL;
  if (HAL_TIM_ConfigClockSource(&htim3, &sClockSourceConfig) != HAL_OK)
  {
    _Error_Handler(__FILE__, __LINE__);
  }

  if (HAL_TIM_PWM_Init(&htim3) != HAL_OK)
  {
    _Error_Handler(__FILE__, __LINE__);
  }

  sMasterConfig.MasterOutputTrigger = TIM_TRGO_RESET;
  sMasterConfig.MasterSlaveMode = TIM_MASTERSLAVEMODE_DISABLE;
  if (HAL_TIMEx_MasterConfigSynchronization(&htim3, &sMasterConfig) != HAL_OK)
  {
    _Error_Handler(__FILE__, __LINE__);
  }

  sConfigOC.OCMode = TIM_OCMODE_PWM1;
  sConfigOC.Pulse = 0;
  sConfigOC.OCPolarity = TIM_OCPOLARITY_HIGH;
  sConfigOC.OCFastMode = TIM_OCFAST_DISABLE;
  if (HAL_TIM_PWM_ConfigChannel(&htim3, &sConfigOC, TIM_CHANNEL_1) != HAL_OK)
  {
    _Error_Handler(__FILE__, __LINE__);
  }

  if (HAL_TIM_PWM_ConfigChannel(&htim3, &sConfigOC, TIM_CHANNEL_2) != HAL_OK)
  {
    _Error_Handler(__FILE__, __LINE__);
  }

  if (HAL_TIM_PWM_ConfigChannel(&htim3, &sConfigOC, TIM_CHANNEL_3) != HAL_OK)
  {
    _Error_Handler(__FILE__, __LINE__);
  }

  if (HAL_TIM_PWM_ConfigChannel(&htim3, &sConfigOC, TIM_CHANNEL_4) != HAL_OK)
  {
    _Error_Handler(__FILE__, __LINE__);
  }

  HAL_TIM_MspPostInit(&htim3);

}

/* TIM4 init function */
static void MX_TIM4_Init(void)
{

  TIM_ClockConfigTypeDef sClockSourceConfig;
  TIM_MasterConfigTypeDef sMasterConfig;

  htim4.Instance = TIM4;
  htim4.Init.Prescaler = 1;
  htim4.Init.CounterMode = TIM_COUNTERMODE_UP;
  htim4.Init.Period = 35999;
  htim4.Init.ClockDivision = TIM_CLOCKDIVISION_DIV1;
  htim4.Init.AutoReloadPreload = TIM_AUTORELOAD_PRELOAD_DISABLE;
  if (HAL_TIM_Base_Init(&htim4) != HAL_OK)
  {
    _Error_Handler(__FILE__, __LINE__);
  }

  sClockSourceConfig.ClockSource = TIM_CLOCKSOURCE_INTERNAL;
  if (HAL_TIM_ConfigClockSource(&htim4, &sClockSourceConfig) != HAL_OK)
  {
    _Error_Handler(__FILE__, __LINE__);
  }

  sMasterConfig.MasterOutputTrigger = TIM_TRGO_RESET;
  sMasterConfig.MasterSlaveMode = TIM_MASTERSLAVEMODE_DISABLE;
  if (HAL_TIMEx_MasterConfigSynchronization(&htim4, &sMasterConfig) != HAL_OK)
  {
    _Error_Handler(__FILE__, __LINE__);
  }

}

/* USART3 init function */
static void MX_USART3_UART_Init(void)
{

  huart3.Instance = USART3;
  huart3.Init.BaudRate = 9600;
  huart3.Init.WordLength = UART_WORDLENGTH_8B;
  huart3.Init.StopBits = UART_STOPBITS_1;
  huart3.Init.Parity = UART_PARITY_NONE;
  huart3.Init.Mode = UART_MODE_TX_RX;
  huart3.Init.HwFlowCtl = UART_HWCONTROL_NONE;
  huart3.Init.OverSampling = UART_OVERSAMPLING_16;
  huart3.Init.OneBitSampling = UART_ONE_BIT_SAMPLE_DISABLE;
  huart3.AdvancedInit.AdvFeatureInit = UART_ADVFEATURE_NO_INIT;
  if (HAL_UART_Init(&huart3) != HAL_OK)
  {
    _Error_Handler(__FILE__, __LINE__);
  }

}

/* USB init function */
static void MX_USB_PCD_Init(void)
{

  hpcd_USB_FS.Instance = USB;
  hpcd_USB_FS.Init.dev_endpoints = 8;
  hpcd_USB_FS.Init.speed = PCD_SPEED_FULL;
  hpcd_USB_FS.Init.ep0_mps = DEP0CTL_MPS_64;
  hpcd_USB_FS.Init.phy_itface = PCD_PHY_EMBEDDED;
  hpcd_USB_FS.Init.low_power_enable = DISABLE;
  hpcd_USB_FS.Init.battery_charging_enable = DISABLE;
  if (HAL_PCD_Init(&hpcd_USB_FS) != HAL_OK)
  {
    _Error_Handler(__FILE__, __LINE__);
  }

}

/** Configure pins as
        * Analog
        * Input
        * Output
        * EVENT_OUT
        * EXTI
        * Free pins are configured automatically as Analog (this feature is enabled through
        * the Code Generation settings)
*/
static void MX_GPIO_Init(void)
{

  GPIO_InitTypeDef GPIO_InitStruct;

  /* GPIO Ports Clock Enable */
  __HAL_RCC_GPIOE_CLK_ENABLE();
  __HAL_RCC_GPIOC_CLK_ENABLE();
  __HAL_RCC_GPIOF_CLK_ENABLE();
  __HAL_RCC_GPIOA_CLK_ENABLE();
  __HAL_RCC_GPIOB_CLK_ENABLE();
  __HAL_RCC_GPIOD_CLK_ENABLE();

  /*Configure GPIO pin Output Level */
  HAL_GPIO_WritePin(CS_I2C_SPI_GPIO_Port, CS_I2C_SPI_Pin, GPIO_PIN_RESET);

  /*Configure GPIO pin Output Level */
  HAL_GPIO_WritePin(GPIOC, GPIO_PIN_0|GPIO_PIN_1|GPIO_PIN_2|GPIO_PIN_3, GPIO_PIN_RESET);

  /*Configure GPIO pin Output Level */
  HAL_GPIO_WritePin(Relay_GPIO_Port, Relay_Pin, GPIO_PIN_RESET);

  /*Configure GPIO pin Output Level */
  HAL_GPIO_WritePin(GPIOD, To_7447_Pin|To_7447D1_Pin|To_7447D2_Pin|To_7447D3_Pin
                          |Enable___7Seg___Digit_1_Pin|Enable___7Seg___Digit_2_Pin|Enable___7Seg___Digit_3_Pin|Enable___7Seg___Digit_4_Pin, GPIO_PIN_RESET);

  /*Configure GPIO pins : DRDY_Pin MEMS_INT3_Pin MEMS_INT4_Pin MEMS_INT2_Pin */
  GPIO_InitStruct.Pin = DRDY_Pin|MEMS_INT3_Pin|MEMS_INT4_Pin|MEMS_INT2_Pin;
  GPIO_InitStruct.Mode = GPIO_MODE_EVT_RISING;
  GPIO_InitStruct.Pull = GPIO_NOPULL;
  HAL_GPIO_Init(GPIOE, &GPIO_InitStruct);

  /*Configure GPIO pin : CS_I2C_SPI_Pin */
  GPIO_InitStruct.Pin = CS_I2C_SPI_Pin;
  GPIO_InitStruct.Mode = GPIO_MODE_OUTPUT_PP;
  GPIO_InitStruct.Pull = GPIO_NOPULL;
  GPIO_InitStruct.Speed = GPIO_SPEED_FREQ_LOW;
  HAL_GPIO_Init(CS_I2C_SPI_GPIO_Port, &GPIO_InitStruct);

  /*Configure GPIO pins : PE6 PE7 PE8 PE10
                           PE12 PE15 PE0 */
  GPIO_InitStruct.Pin = GPIO_PIN_6|GPIO_PIN_7|GPIO_PIN_8|GPIO_PIN_10
                          |GPIO_PIN_12|GPIO_PIN_15|GPIO_PIN_0;
  GPIO_InitStruct.Mode = GPIO_MODE_ANALOG;
  GPIO_InitStruct.Pull = GPIO_NOPULL;
  HAL_GPIO_Init(GPIOE, &GPIO_InitStruct);

  /*Configure GPIO pins : PC13 PC4 PC5 PC10
                           PC11 PC12 */
  GPIO_InitStruct.Pin = GPIO_PIN_13|GPIO_PIN_4|GPIO_PIN_5|GPIO_PIN_10
                          |GPIO_PIN_11|GPIO_PIN_12;
  GPIO_InitStruct.Mode = GPIO_MODE_ANALOG;
  GPIO_InitStruct.Pull = GPIO_NOPULL;
  HAL_GPIO_Init(GPIOC, &GPIO_InitStruct);

  /*Configure GPIO pins : PF9 PF10 PF6 */
  GPIO_InitStruct.Pin = GPIO_PIN_9|GPIO_PIN_10|GPIO_PIN_6;
  GPIO_InitStruct.Mode = GPIO_MODE_ANALOG;
  GPIO_InitStruct.Pull = GPIO_NOPULL;
  HAL_GPIO_Init(GPIOF, &GPIO_InitStruct);

  /*Configure GPIO pins : PC0 PC1 PC2 PC3 */
  GPIO_InitStruct.Pin = GPIO_PIN_0|GPIO_PIN_1|GPIO_PIN_2|GPIO_PIN_3;
  GPIO_InitStruct.Mode = GPIO_MODE_OUTPUT_PP;
  GPIO_InitStruct.Pull = GPIO_NOPULL;
  GPIO_InitStruct.Speed = GPIO_SPEED_FREQ_HIGH;
  HAL_GPIO_Init(GPIOC, &GPIO_InitStruct);

  /*Configure GPIO pin : B1_Pin */
  GPIO_InitStruct.Pin = B1_Pin;
  GPIO_InitStruct.Mode = GPIO_MODE_IT_RISING;
  GPIO_InitStruct.Pull = GPIO_PULLDOWN;
  HAL_GPIO_Init(B1_GPIO_Port, &GPIO_InitStruct);

  /*Configure GPIO pins : PA1 PA3 PA8 PA9
                           PA10 PA15 */
  GPIO_InitStruct.Pin = GPIO_PIN_1|GPIO_PIN_3|GPIO_PIN_8|GPIO_PIN_9
                          |GPIO_PIN_10|GPIO_PIN_15;
  GPIO_InitStruct.Mode = GPIO_MODE_ANALOG;
  GPIO_InitStruct.Pull = GPIO_NOPULL;
  HAL_GPIO_Init(GPIOA, &GPIO_InitStruct);

  /*Configure GPIO pin : Relay_Pin */
  GPIO_InitStruct.Pin = Relay_Pin;
  GPIO_InitStruct.Mode = GPIO_MODE_OUTPUT_PP;
  GPIO_InitStruct.Pull = GPIO_NOPULL;
  GPIO_InitStruct.Speed = GPIO_SPEED_FREQ_HIGH;
  HAL_GPIO_Init(Relay_GPIO_Port, &GPIO_InitStruct);

  /*Configure GPIO pins : PB2 PB13 PB14 PB15
                           PB5 PB8 PB9 */
  GPIO_InitStruct.Pin = GPIO_PIN_2|GPIO_PIN_13|GPIO_PIN_14|GPIO_PIN_15
                          |GPIO_PIN_5|GPIO_PIN_8|GPIO_PIN_9;
  GPIO_InitStruct.Mode = GPIO_MODE_ANALOG;
  GPIO_InitStruct.Pull = GPIO_NOPULL;
  HAL_GPIO_Init(GPIOB, &GPIO_InitStruct);

  /*Configure GPIO pins : PD8 PD9 PD10 PD11
                           PD12 PD13 PD14 PD15 */
  GPIO_InitStruct.Pin = GPIO_PIN_8|GPIO_PIN_9|GPIO_PIN_10|GPIO_PIN_11
                          |GPIO_PIN_12|GPIO_PIN_13|GPIO_PIN_14|GPIO_PIN_15;
  GPIO_InitStruct.Mode = GPIO_MODE_ANALOG;
  GPIO_InitStruct.Pull = GPIO_NOPULL;
  HAL_GPIO_Init(GPIOD, &GPIO_InitStruct);

  /*Configure GPIO pins : PC6 PC7 PC8 PC9 */
  GPIO_InitStruct.Pin = GPIO_PIN_6|GPIO_PIN_7|GPIO_PIN_8|GPIO_PIN_9;
  GPIO_InitStruct.Mode = GPIO_MODE_IT_RISING;
  GPIO_InitStruct.Pull = GPIO_PULLDOWN;
  HAL_GPIO_Init(GPIOC, &GPIO_InitStruct);

  /*Configure GPIO pins : To_7447_Pin To_7447D1_Pin To_7447D2_Pin To_7447D3_Pin
                           Enable___7Seg___Digit_1_Pin Enable___7Seg___Digit_2_Pin Enable___7Seg___Digit_3_Pin Enable___7Seg___Digit_4_Pin */
  GPIO_InitStruct.Pin = To_7447_Pin|To_7447D1_Pin|To_7447D2_Pin|To_7447D3_Pin
                          |Enable___7Seg___Digit_1_Pin|Enable___7Seg___Digit_2_Pin|Enable___7Seg___Digit_3_Pin|Enable___7Seg___Digit_4_Pin;
  GPIO_InitStruct.Mode = GPIO_MODE_OUTPUT_PP;
  GPIO_InitStruct.Pull = GPIO_NOPULL;
  GPIO_InitStruct.Speed = GPIO_SPEED_FREQ_HIGH;
  HAL_GPIO_Init(GPIOD, &GPIO_InitStruct);

  /* EXTI interrupt init*/
  HAL_NVIC_SetPriority(EXTI0_IRQn, 3, 0);
  HAL_NVIC_EnableIRQ(EXTI0_IRQn);

  HAL_NVIC_SetPriority(EXTI9_5_IRQn, 3, 0);
  HAL_NVIC_EnableIRQ(EXTI9_5_IRQn);

}

/* USER CODE BEGIN 4 */
void initial_tasks(){

	// Set the initial state
	state = Getting_Level;
	playing_state = Pause;

	// Set the number of player lifes
	Life = 8;

	// Set the default level
	Level = 1;

	// init & configure LCD
	LiquidCrystal(GPIOD, GPIO_PIN_8, GPIO_PIN_9, GPIO_PIN_10, GPIO_PIN_11, GPIO_PIN_12, GPIO_PIN_13, GPIO_PIN_14);

	// create Player character
  createChar(0, player_char);
  // create barrier character
  createChar(1, barrier_char);
	// create block character
  createChar(2, block_char);

	setCursor(0, 0);
	print("    Writen By");
	setCursor(0, 1);
	print("   Ali.Gandomi");

	// Init KeyPad
	enable_keypad_intrrupt(keypad_row);

	// Turn Relay off
	HAL_GPIO_WritePin(GPIOF, GPIO_PIN_4, GPIO_PIN_SET);

	// Print Get level
	print_get_level();

	// Enable LDR sensor
	HAL_ADC_Start_IT(&hadc1);

	// Enable Volume
	HAL_ADC_Start_IT(&hadc4);

	// Enable UART
	HAL_UART_Receive_IT(&huart3, UART_Data, sizeof(UART_Data));

	// Init life LED
	print_life_on_led();
}
/* USER CODE END 4 */

void _Error_Handler(char *file, int line)
{
  while(1)
  {
  }
}

/************************ (C) COPYRIGHT STMicroelectronics *****END OF FILE****/
